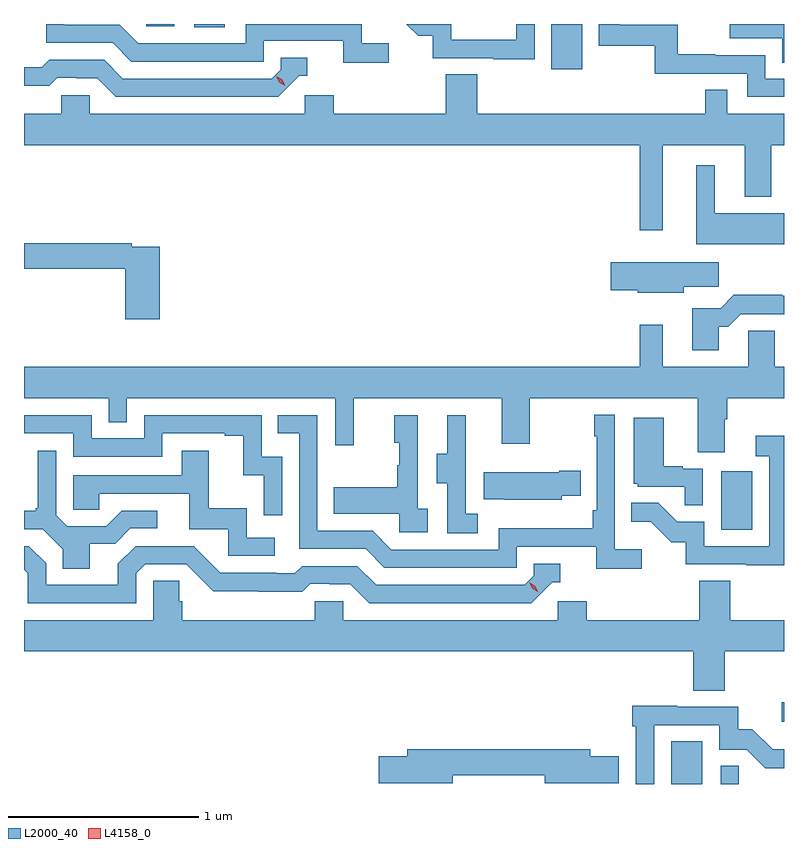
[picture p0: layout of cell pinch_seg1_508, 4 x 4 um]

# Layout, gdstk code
import gdstk
lib = gdstk.Library(unit=1e-6, precision=1e-09)
def R(c, l, rs):  # rectangles x0, y0, x1, y1
    for r in rs: c.add(gdstk.rectangle(r[:2], r[2:], *l))
def P(c, l, *ps):  # polygons
    for p in ps: c.add(gdstk.Polygon(p, *l))
L2000_40 = (2000, 40)
L4158_0 = (4158, 0)

pinch_seg1_508 = lib.new_cell('pinch_seg1_508')
R(pinch_seg1_508, L2000_40, [(1020.02,540.377,1020.184,540.601), (1020.282,540.377,1020.377,540.473), (1020.603,540.704,1020.614,540.806), (1020.284,541.716,1020.448,542.023), (1019.39,544.14,1019.551,544.377), (1017.51,544.36,1017.67,544.377), (1017.258,544.365,1017.406,544.377)])
P(pinch_seg1_508, L2000_40, [(1020.614,544.377),(1020.328,544.377),(1020.328,544.302),(1020.605,544.302),(1020.605,544.174),(1020.614,544.174)],
  [(1020.614,544.089),(1020.516,544.089),(1020.516,544.212),(1020.251,544.212),(1020.251,544.217),(1020.055,544.217),(1020.055,544.372),(1019.75,544.372),(1019.75,544.377),(1019.64,544.377),(1019.64,544.263),(1019.934,544.263),(1019.934,544.116),(1020.42,544.116),(1020.42,543.993),(1020.614,543.993)],
  [(1018.534,544.276),(1018.392,544.276),(1018.392,544.377),(1017.78,544.377),(1017.78,544.275),(1017.216,544.275),(1017.117,544.374),(1016.826,544.374),(1016.826,544.377),(1016.73,544.377),(1016.73,544.278),(1017.08,544.278),(1017.179,544.179),(1017.876,544.179),(1017.876,544.29),(1018.295,544.29),(1018.295,544.174),(1018.534,544.174)],
  [(1019.301,544.377),(1019.205,544.377),(1019.205,544.293),(1018.863,544.293),(1018.863,544.377),(1018.625,544.377),(1018.688,544.314),(1018.765,544.314),(1018.765,544.197),(1019.083,544.197),(1019.083,544.192),(1019.301,544.192)],
  [(1018.062,544.104),(1018.105,544.104),(1018.105,544.2),(1017.966,544.2),(1017.966,544.137),(1017.918,544.089),(1017.135,544.089),(1017.036,544.188),(1016.747,544.188),(1016.708,544.149),(1016.614,544.149),(1016.614,544.053),(1016.747,544.053),(1016.789,544.095),(1016.892,544.095),(1016.892,544.092),(1016.999,544.092),(1017.098,543.993),(1017.951,543.993)],
  [(1019.977,543.74),(1020.407,543.74),(1020.407,543.467),(1020.547,543.467),(1020.547,543.74),(1020.614,543.74),(1020.614,543.904),(1020.315,543.904),(1020.315,544.031),(1020.199,544.031),(1020.199,543.904),(1019,543.904),(1019,544.112),(1018.835,544.112),(1018.835,543.904),(1018.244,543.904),(1018.244,544.002),(1018.092,544.002),(1018.092,543.904),(1016.961,543.904),(1016.961,544.002),(1016.811,544.002),(1016.811,543.904),(1016.614,543.904),(1016.614,543.74),(1019.856,543.74),(1019.856,543.291),(1019.977,543.291)],
  [(1020.614,543.382),(1020.25,543.382),(1020.25,543.634),(1020.152,543.634),(1020.152,543.218),(1020.614,543.218)],
  [(1017.329,543.204),(1017.182,543.204),(1017.182,543.224),(1016.614,543.224),(1016.614,543.088),(1017.146,543.088),(1017.146,542.823),(1017.329,542.823)],
  [(1020.087,542.995),(1020.271,542.995),(1020.271,543.124),(1019.703,543.124),(1019.703,542.977),(1019.844,542.977),(1019.844,542.963),(1020.087,542.963)],
  [(1020.271,542.783),(1020.32,542.783),(1020.387,542.85),(1020.614,542.85),(1020.614,542.948),(1020.605,542.948),(1020.605,542.951),(1020.35,542.951),(1020.28,542.881),(1020.131,542.881),(1020.131,542.661),(1020.271,542.661)],
  [(1020.301,542.296),(1020.314,542.296),(1020.314,542.408),(1020.614,542.408),(1020.614,542.572),(1020.565,542.572),(1020.565,542.762),(1020.426,542.762),(1020.426,542.572),(1019.977,542.572),(1019.977,542.794),(1019.856,542.794),(1019.856,542.572),(1016.614,542.572),(1016.614,542.408),(1017.06,542.408),(1017.06,542.281),(1017.156,542.281),(1017.156,542.408),(1018.251,542.408),(1018.251,542.16),(1018.349,542.16),(1018.349,542.408),(1019.129,542.408),(1019.129,542.169),(1019.277,542.169),(1019.277,542.408),(1020.161,542.408),(1020.161,542.122),(1020.301,542.122)],
  [(1019.866,541.612),(1019.724,541.612),(1019.724,542.32),(1019.616,542.32),(1019.616,542.207),(1019.628,542.207),(1019.628,541.819),(1019.608,541.819),(1019.608,541.723),(1019.112,541.723),(1019.112,541.611),(1018.548,541.611),(1018.449,541.71),(1018.158,541.71),(1018.158,542.319),(1017.949,542.319),(1017.949,542.223),(1018.062,542.223),(1018.062,541.614),(1018.412,541.614),(1018.511,541.515),(1019.208,541.515),(1019.208,541.626),(1019.627,541.626),(1019.627,541.51),(1019.866,541.51)],
  [(1017.972,542.1),(1017.864,542.1),(1017.864,542.319),(1017.246,542.319),(1017.246,542.196),(1016.97,542.196),(1016.97,542.319),(1016.614,542.319),(1016.614,542.223),(1016.874,542.223),(1016.874,542.1),(1017.342,542.1),(1017.342,542.223),(1017.671,542.223),(1017.671,542.211),(1017.767,542.211),(1017.767,542.003),(1017.876,542.003),(1017.876,541.791),(1017.972,541.791)],
  [(1019.002,541.799),(1018.938,541.799),(1018.938,542.103),(1018.94,542.103),(1018.94,542.317),(1018.841,542.317),(1018.841,542.115),(1018.787,542.115),(1018.787,541.96),(1018.842,541.96),(1018.842,541.696),(1019.002,541.696)],
  [(1018.738,541.826),(1018.686,541.826),(1018.686,542.317),(1018.562,542.317),(1018.562,542.172),(1018.588,542.172),(1018.588,542.054),(1018.578,542.054),(1018.578,541.939),(1018.243,541.939),(1018.243,541.799),(1018.59,541.799),(1018.59,541.701),(1018.738,541.701)],
  [(1020.186,542.037),(1020.08,542.037),(1020.08,542.05),(1019.98,542.05),(1019.98,542.305),(1019.822,542.305),(1019.822,541.956),(1019.844,541.956),(1019.844,541.941),(1020.091,541.941),(1020.091,541.843),(1020.186,541.843)],
  [(1020.614,542.209),(1020.465,542.209),(1020.465,542.103),(1020.537,542.103),(1020.537,541.629),(1020.195,541.629),(1020.195,541.758),(1020.051,541.758),(1019.953,541.856),(1019.809,541.856),(1019.809,541.757),(1019.913,541.757),(1020.02,541.65),(1020.097,541.65),(1020.097,541.533),(1020.415,541.533),(1020.415,541.528),(1020.614,541.528)],
  [(1016.959,541.642),(1017.094,541.642),(1017.174,541.722),(1017.316,541.722),(1017.316,541.815),(1017.128,541.815),(1017.047,541.734),(1016.841,541.734),(1016.784,541.791),(1016.784,542.131),(1016.687,542.131),(1016.687,541.828),(1016.676,541.828),(1016.676,541.816),(1016.614,541.816),(1016.614,541.719),(1016.712,541.719),(1016.819,541.612),(1016.819,541.51),(1016.959,541.51)],
  [(1017.934,541.674),(1017.786,541.674),(1017.786,541.828),(1017.587,541.828),(1017.587,542.131),(1017.443,542.131),(1017.443,542.001),(1016.874,542.001),(1016.874,541.821),(1017.011,541.821),(1017.011,541.905),(1017.485,541.905),(1017.485,541.719),(1017.69,541.719),(1017.69,541.578),(1017.934,541.578)],
  [(1019.445,541.895),(1019.543,541.895),(1019.543,542.025),(1019.432,542.025),(1019.432,542.017),(1019.035,542.017),(1019.035,541.877),(1019.143,541.877),(1019.143,541.874),(1019.445,541.874)],
  [(1017.204,541.485),(1017.252,541.533),(1017.468,541.533),(1017.61,541.391),(1017.846,541.391),(1017.846,541.389),(1018.079,541.389),(1018.121,541.431),(1018.224,541.431),(1018.224,541.428),(1018.331,541.428),(1018.43,541.329),(1019.283,541.329),(1019.394,541.44),(1019.437,541.44),(1019.437,541.536),(1019.298,541.536),(1019.298,541.473),(1019.25,541.425),(1018.467,541.425),(1018.368,541.524),(1018.079,541.524),(1018.04,541.485),(1017.941,541.485),(1017.941,541.488),(1017.648,541.488),(1017.507,541.629),(1017.201,541.629),(1017.107,541.535),(1017.107,541.425),(1016.73,541.425),(1016.73,541.539),(1016.64,541.629),(1016.614,541.629),(1016.614,541.505),(1016.634,541.485),(1016.634,541.329),(1017.204,541.329)],
  [(1020.302,541.076),(1020.614,541.076),(1020.614,541.24),(1020.332,541.24),(1020.332,541.448),(1020.167,541.448),(1020.167,541.24),(1019.576,541.24),(1019.576,541.338),(1019.424,541.338),(1019.424,541.24),(1018.293,541.24),(1018.293,541.338),(1018.143,541.338),(1018.143,541.24),(1017.446,541.24),(1017.446,541.338),(1017.431,541.338),(1017.431,541.448),(1017.294,541.448),(1017.294,541.24),(1016.614,541.24),(1016.614,541.076),(1020.137,541.076),(1020.137,540.868),(1020.302,540.868)],
  [(1019.931,540.687),(1020.273,540.687),(1020.273,540.558),(1020.417,540.558),(1020.515,540.46),(1020.614,540.46),(1020.614,540.559),(1020.555,540.559),(1020.448,540.666),(1020.372,540.666),(1020.372,540.783),(1020.053,540.783),(1020.053,540.788),(1019.815,540.788),(1019.815,540.68),(1019.835,540.68),(1019.835,540.377),(1019.931,540.377)],
  [(1018.87,540.424),(1019.354,540.424),(1019.354,540.382),(1019.743,540.382),(1019.743,540.524),(1019.593,540.524),(1019.593,540.56),(1018.631,540.56),(1018.631,540.524),(1018.482,540.524),(1018.482,540.382),(1018.87,540.382)])
P(pinch_seg1_508, L4158_0, [(1017.989,544.051),(1017.958,544.07),(1017.942,544.103),(1017.942,544.103),(1017.942,544.103),(1017.973,544.084),(1017.989,544.051),(1017.989,544.051)],
  [(1019.32,541.386),(1019.289,541.406),(1019.274,541.438),(1019.274,541.439),(1019.274,541.439),(1019.304,541.419),(1019.32,541.386),(1019.32,541.386)])

lib.write_gds('pinch_seg1_508.gds')
